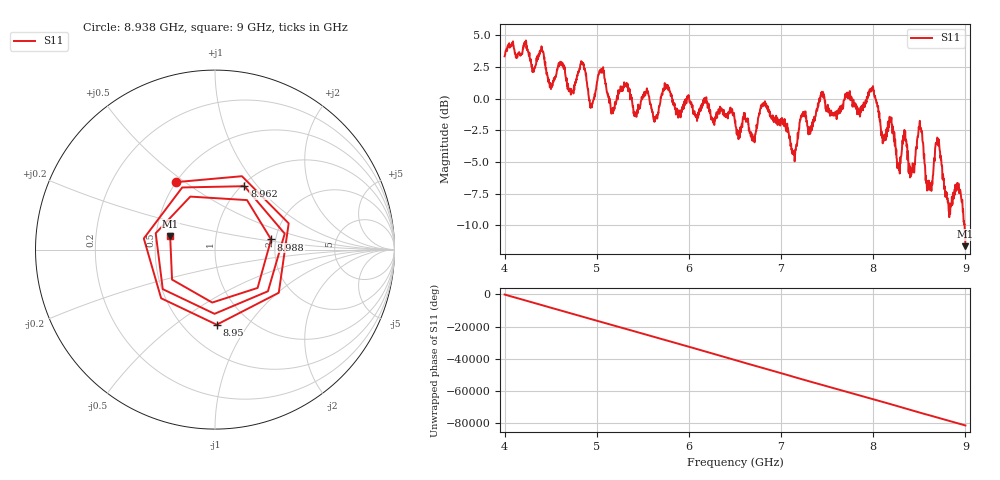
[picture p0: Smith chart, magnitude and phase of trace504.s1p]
! Created with skrf 1.8.0 (http://scikit-rf.org).
# Hz S RI R 50.0
!freq ReS11 ImS11
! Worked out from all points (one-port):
!   1601 points, 4 GHz to 9 GHz, reference 50 ohm
!   lowest |S11| = -11.7 dB at 9 GHz (marker M1), VSWR 1.71, Z = 29.7 + j4.86 ohm
!   |S11| at or under -10 dB: 8.991371 GHz to end of sweep
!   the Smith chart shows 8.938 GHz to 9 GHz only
!   S11 on the Smith chart (normalised r, x): 8.938 GHz: 0.50, +0.46; 8.95 GHz: 0.71, -0.72; 8.962 GHz: 1.03, +0.86; 8.988 GHz: 1.89, +0.24; 9 GHz: 0.59, +0.10
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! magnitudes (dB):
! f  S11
! 4 GHz  3.3
! 4.625 GHz  2.8
! 4.722 GHz  0.8
! 4.847 GHz  2.7
! 4.941 GHz  -0.5
! 5.05 GHz  2.3
! 5.169 GHz  -0.9
! 5.25 GHz  0.6
! 5.875 GHz  -1.2
! 6.5 GHz  -1.9
! 6.697 GHz  -3.1
! 6.825 GHz  -0.2
! 7.125 GHz  -4.2
! 7.441 GHz  0.5
! 7.75 GHz  0.1
! 7.988 GHz  0.8
! 8.106 GHz  -3.1
! 8.375 GHz  -4.1
! 8.425 GHz  -5.4
! 8.506 GHz  -1.8
! 8.594 GHz  -6.7
! 8.697 GHz  -3.1
! 8.825 GHz  -9.4
! 8.938 GHz  -7.2
! 8.95 GHz  -7.6
! 8.962 GHz  -8.2
! 8.988 GHz  -10.0
! 9 GHz  -11.7
